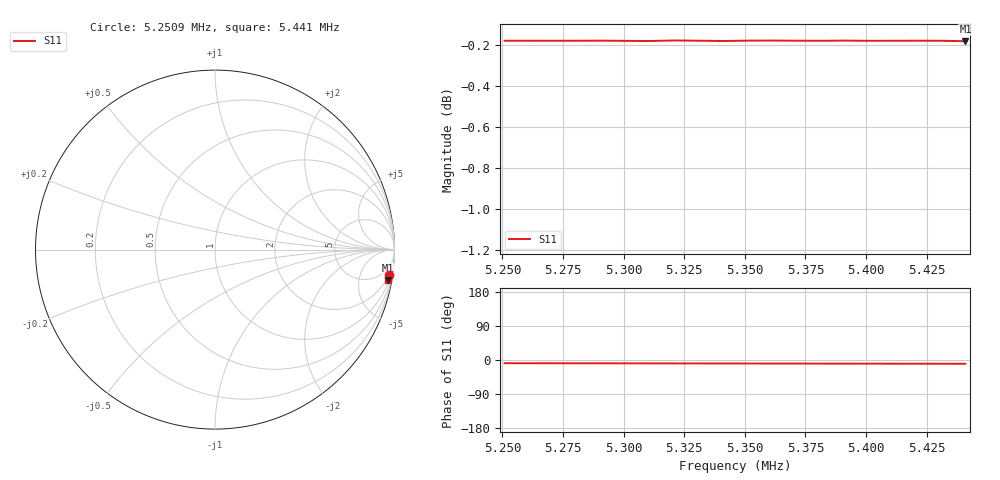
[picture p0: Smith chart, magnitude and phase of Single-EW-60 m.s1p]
# HZ S RI R 50
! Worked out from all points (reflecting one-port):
!   20 points, 5.2509 MHz to 5.441 MHz, reference 50 ohm
!   lowest |S11| = -0.2 dB at 5.441 MHz (marker M1), VSWR 94.88, Z = 69 - j566 ohm
!   phase of S11 starts at -8 deg and turns -2 deg over the sweep
5250900  0.9688 -0.1435
5260904  0.9686 -0.1448
5270908  0.9684 -0.1462
5280912  0.9682 -0.1476
5290916  0.968 -0.1489
5300920  0.9677 -0.1502
5310924  0.9674 -0.1516
5320928  0.9675 -0.1531
5330932  0.9672 -0.1543
5340936  0.9668 -0.1557
5350940  0.9667 -0.1572
5360944  0.9666 -0.1585
5370948  0.9663 -0.1598
5380952  0.966 -0.1613
5390956  0.9659 -0.1626
5400960  0.9656 -0.1638
5410964  0.9653 -0.1652
5420968  0.9651 -0.1667
5430972  0.9649 -0.1678
5440976  0.9644 -0.1692
